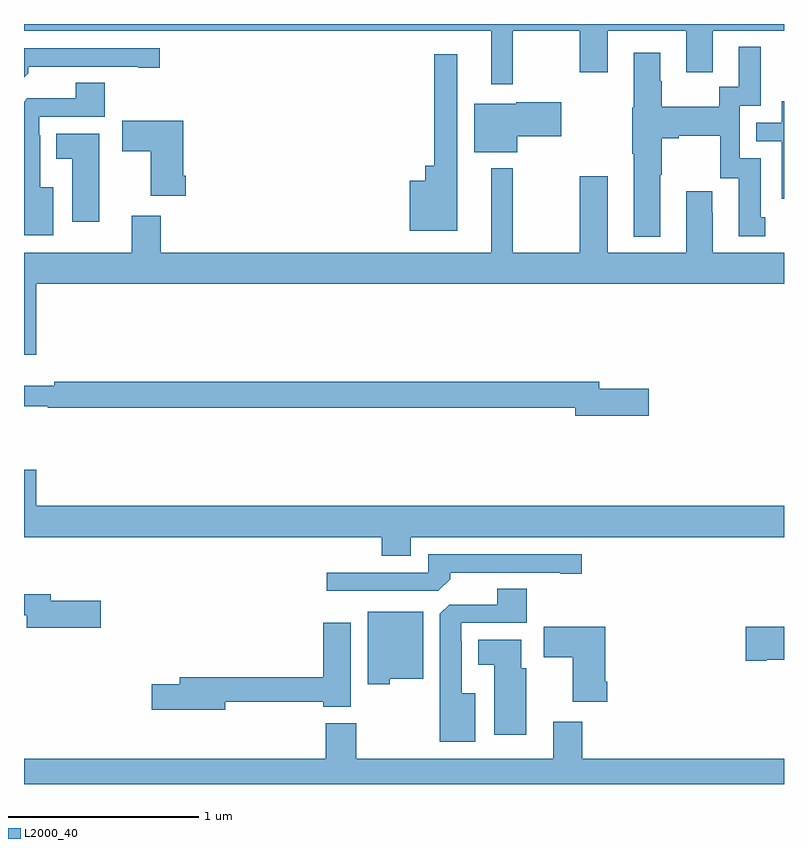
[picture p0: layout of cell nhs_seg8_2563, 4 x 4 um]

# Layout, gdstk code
import gdstk
lib = gdstk.Library(unit=1e-6, precision=1e-09)
def P(c, l, *ps):  # polygons
    for p in ps: c.add(gdstk.Polygon(p, *l))
L2000_40 = (2000, 40)

nhs_seg8_2563 = lib.new_cell('nhs_seg8_2563')
P(nhs_seg8_2563, L2000_40, [(275.573,1085.864),(275.926,1085.864),(275.926,1085.646),(276.073,1085.646),(276.073,1085.864),(276.485,1085.864),(276.485,1085.646),(276.625,1085.646),(276.625,1085.864),(277,1085.864),(277,1085.9),(273,1085.9),(273,1085.864),(275.459,1085.864),(275.459,1085.583),(275.573,1085.583)],
  [(276.349,1085.107),(276.357,1085.107),(276.357,1085.3),(276.445,1085.3),(276.445,1085.312),(276.665,1085.312),(276.665,1085.088),(276.761,1085.088),(276.761,1084.782),(276.901,1084.782),(276.901,1084.884),(276.877,1084.884),(276.877,1085.193),(276.768,1085.193),(276.768,1085.469),(276.877,1085.469),(276.877,1085.779),(276.761,1085.779),(276.761,1085.57),(276.66,1085.57),(276.66,1085.464),(276.357,1085.464),(276.357,1085.598),(276.349,1085.598),(276.349,1085.749),(276.209,1085.749),(276.209,1085.46),(276.202,1085.46),(276.202,1085.216),(276.209,1085.216),(276.209,1084.781),(276.349,1084.781)],
  [(273.023,1085.642),(273.023,1085.676),(273.602,1085.676),(273.602,1085.671),(273.715,1085.671),(273.715,1085.772),(273,1085.772),(273,1085.619)],
  [(275.281,1085.74),(275.16,1085.74),(275.16,1085.155),(275.111,1085.155),(275.111,1085.074),(275.03,1085.074),(275.03,1084.811),(275.281,1084.811)],
  [(273.154,1085.041),(273.085,1085.041),(273.085,1085.315),(273.081,1085.315),(273.081,1085.412),(273.425,1085.412),(273.425,1085.591),(273.272,1085.591),(273.272,1085.508),(273.018,1085.508),(273,1085.49),(273,1084.787),(273.154,1084.787)],
  [(277,1085.493),(276.987,1085.493),(276.987,1085.379),(276.853,1085.379),(276.853,1085.283),(276.987,1085.283),(276.987,1084.98),(277,1084.98)],
  [(275.596,1085.309),(275.827,1085.309),(275.827,1085.487),(275.592,1085.487),(275.592,1085.479),(275.369,1085.479),(275.369,1085.225),(275.596,1085.225)],
  [(273.851,1085.101),(273.838,1085.101),(273.838,1085.392),(273.516,1085.392),(273.516,1085.23),(273.668,1085.23),(273.668,1084.997),(273.851,1084.997)],
  [(273.397,1085.323),(273.17,1085.323),(273.17,1085.192),(273.254,1085.192),(273.254,1084.86),(273.397,1084.86)],
  [(273.064,1084.532),(277,1084.532),(277,1084.696),(276.625,1084.696),(276.625,1084.907),(276.622,1084.907),(276.622,1085.02),(276.485,1085.02),(276.485,1084.696),(276.073,1084.696),(276.073,1085.098),(275.926,1085.098),(275.926,1084.696),(275.573,1084.696),(275.573,1085.14),(275.459,1085.14),(275.459,1084.696),(273.719,1084.696),(273.719,1084.891),(273.566,1084.891),(273.566,1084.696),(273,1084.696),(273,1084.158),(273.064,1084.158)],
  [(276.289,1083.98),(276.028,1083.98),(276.028,1084.016),(273.16,1084.016),(273.16,1083.997),(273,1083.997),(273,1083.888),(273.124,1083.888),(273.124,1083.88),(275.9,1083.88),(275.9,1083.838),(276.289,1083.838)],
  [(275.035,1083.2),(277,1083.2),(277,1083.364),(273.064,1083.364),(273.064,1083.553),(273,1083.553),(273,1083.2),(274.883,1083.2),(274.883,1083.101),(275.035,1083.101)],
  [(275.243,1082.978),(275.243,1083.012),(275.822,1083.012),(275.822,1083.007),(275.935,1083.007),(275.935,1083.108),(275.127,1083.108),(275.127,1083.012),(274.593,1083.012),(274.593,1082.916),(275.181,1082.916)],
  [(275.374,1082.377),(275.305,1082.377),(275.305,1082.651),(275.301,1082.651),(275.301,1082.748),(275.645,1082.748),(275.645,1082.927),(275.492,1082.927),(275.492,1082.844),(275.238,1082.844),(275.189,1082.795),(275.189,1082.123),(275.374,1082.123)],
  [(273.403,1082.865),(273.142,1082.865),(273.142,1082.899),(273,1082.899),(273,1082.789),(273.014,1082.789),(273.014,1082.723),(273.403,1082.723)],
  [(274.926,1082.453),(275.101,1082.453),(275.101,1082.806),(274.808,1082.806),(274.808,1082.426),(274.926,1082.426)],
  [(274.06,1082.334),(274.574,1082.334),(274.574,1082.306),(274.72,1082.306),(274.72,1082.749),(274.574,1082.749),(274.574,1082.462),(273.821,1082.462),(273.821,1082.426),(273.672,1082.426),(273.672,1082.291),(274.06,1082.291)],
  [(276.071,1082.437),(276.058,1082.437),(276.058,1082.728),(275.736,1082.728),(275.736,1082.566),(275.888,1082.566),(275.888,1082.333),(276.071,1082.333)],
  [(276.91,1082.555),(277,1082.555),(277,1082.727),(276.798,1082.727),(276.798,1082.549),(276.91,1082.549)],
  [(275.644,1082.508),(275.617,1082.508),(275.617,1082.659),(275.39,1082.659),(275.39,1082.528),(275.474,1082.528),(275.474,1082.16),(275.644,1082.16)],
  [(277,1082.032),(275.939,1082.032),(275.939,1082.227),(275.786,1082.227),(275.786,1082.032),(274.749,1082.032),(274.749,1082.221),(274.589,1082.221),(274.589,1082.032),(273,1082.032),(273,1081.9),(277,1081.9)])

lib.write_gds('nhs_seg8_2563.gds')
